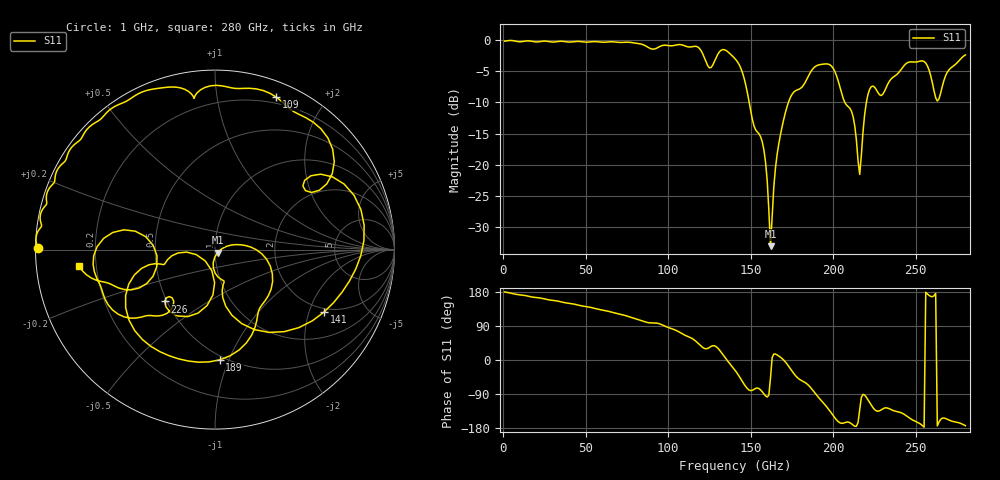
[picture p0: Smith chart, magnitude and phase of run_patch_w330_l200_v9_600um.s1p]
#  Hz  S  RI  R  50
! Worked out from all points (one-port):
!   280 points, 1 GHz to 280 GHz, reference 50 ohm
!   lowest |S11| = -33.1 dB at 162 GHz (marker M1), VSWR 1.05, Z = 51.5 - j1.67 ohm
!   |S11| at or under -10 dB: 149.1 GHz to 172.8 GHz (23.74 GHz wide, 14.7 % of centre); 207 GHz to 220 GHz (13.02 GHz wide, 6.1 % of centre)
!   S11 on the Smith chart (normalised r, x): 1 GHz: 0.01, +0.00; 109 GHz: 0.14, +1.47; 141 GHz: 1.84, -2.52; 189 GHz: 0.47, -0.93; 226 GHz: 0.49, -0.34; 280 GHz: 0.13, -0.06
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1e9  -0.9862 0.00873
3.6e10  -0.8735 0.4528
7.1e10  -0.491 0.8282
1.06e11  0.2296 0.8954
1.09e11  0.341 0.8497
1.19e11  0.6558 0.5587
1.23e11  0.5814 0.3304
1.3e11  0.6543 0.4054
1.35e11  0.8297 0.0497
1.41e11  0.6065 -0.349
1.48e11  0.0951 -0.3667
1.58e11  0.000901 -0.1313
1.6e11  -0.00999 -0.0734
1.62e11  0.0149 -0.0162
1.66e11  0.1172 0.028
1.76e11  0.3129 -0.2196
1.89e11  0.0261 -0.6144
2e11  -0.4977 -0.3245
2.11e11  -0.2637 -0.0554
2.16e11  -0.0543 -0.0631
2.2e11  -0.0444 -0.3121
2.26e11  -0.2794 -0.2891
2.46e11  -0.595 -0.3078
2.55e11  -0.6756 -0.0337
2.59e11  -0.5076 0.1103
2.64e11  -0.3242 -0.0948
2.68e11  -0.4678 -0.2243
2.8e11  -0.7587 -0.0887
